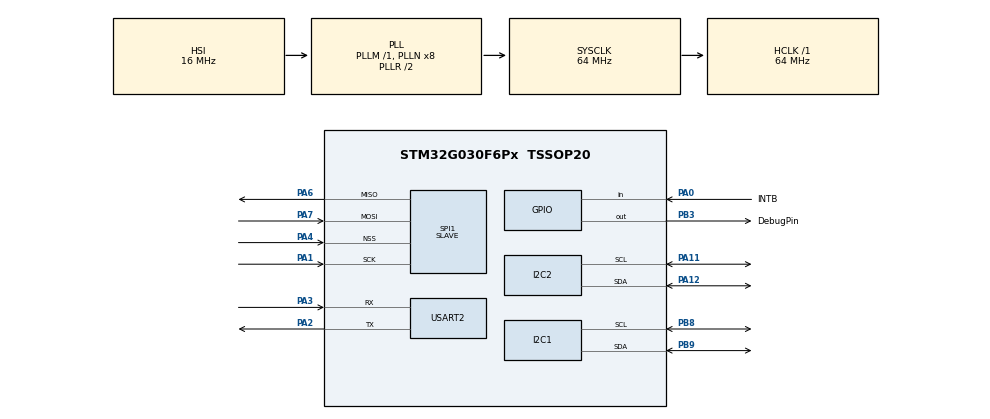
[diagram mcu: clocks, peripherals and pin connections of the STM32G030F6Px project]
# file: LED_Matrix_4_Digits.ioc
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I2C1.Timing=0x10707DBC
I2C2.Timing=0x10707DBC
Mcu.Family=STM32G0
Mcu.Name=STM32G030F6Px
Mcu.Package=TSSOP20
NVIC.SPI1_IRQn=true\:0\:0\:false\:false\:true\:true\:true\:true
PA0.GPIO_Label=INTB
PA0.Signal=GPIO_Input
PA1.Mode=Full_Duplex_Slave
PA1.Signal=SPI1_SCK
PA11\ [PA9].Mode=I2C
PA11\ [PA9].Signal=I2C2_SCL
PA12\ [PA10].Mode=I2C
PA12\ [PA10].Signal=I2C2_SDA
PA13.Mode=Serial_Wire
PA13.Signal=SYS_SWDIO
PA14-BOOT0.Mode=Serial_Wire
PA14-BOOT0.Signal=SYS_SWCLK
PA14-BOOT0__PA15.StandardMode=true
PA2.Mode=Asynchronous
PA2.Signal=USART2_TX
PA3.Mode=Asynchronous
PA3.Signal=USART2_RX
PA4.Mode=NSS_Signal_Hard_Input
PA4.Signal=SPI1_NSS
PA6.Mode=Full_Duplex_Slave
PA6.Signal=SPI1_MISO
PA7.Mode=Full_Duplex_Slave
PA7.Signal=SPI1_MOSI
PB0__PB1__PB2__PA8.StandardMode=true
PB3.GPIO_Label=DebugPin
PB3.Signal=GPIO_Output
PB3__PB4__PB5__PB6.StandardMode=true
PB7__PB8.StandardMode=true
PB8.Mode=I2C
PB8.Signal=I2C1_SCL
PB9.Mode=I2C
PB9.Signal=I2C1_SDA
PC14-OSC32_IN\ (PC14)__PB9.StandardMode=true
ProjectManager.HeapSize=0x200
ProjectManager.StackSize=0x400
ProjectManager.TargetToolchain=STM32CubeIDE
RCC.ADCFreq_Value=64000000
RCC.AHBFreq_Value=64000000
RCC.CortexFreq_Value=64000000
RCC.EXTERNAL_CLOCK_VALUE=12288000
RCC.HCLKFreq_Value=64000000
RCC.HSE_VALUE=8000000
RCC.HSI_VALUE=16000000
RCC.LSE_VALUE=32768
RCC.SYSCLKFreq_VALUE=64000000
RCC.SYSCLKSource=RCC_SYSCLKSOURCE_PLLCLK
RCC.VCOOutputFreq_Value=128000000
SPI1.Direction=SPI_DIRECTION_2LINES
SPI1.Mode=SPI_MODE_SLAVE
SPI1.VirtualNSS=VM_NSSHARD
SPI1.VirtualType=VM_SLAVE
USART2.VirtualMode-Asynchronous=VM_ASYNC
board=custom

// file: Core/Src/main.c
/* USER CODE BEGIN Header */
/**
  ******************************************************************************
  * @file           : main.c
  * @brief          : Main program body
  ******************************************************************************
  * @attention
  *
  * Copyright (c) 2024 STMicroelectronics.
  * All rights reserved.
  *
  * This software is licensed under terms that can be found in the LICENSE file
  * in the root directory of this software component.
  * If no LICENSE file comes with this software, it is provided AS-IS.
  *
  ******************************************************************************
  */
/* USER CODE END Header */
#include "main.h"

/* USER CODE BEGIN Includes */
#include <LedDriver.h>
#include <Matrix.h>
#include "string.h"
#include "stdio.h"
#include <stdlib.h>
/* USER CODE END Includes */

I2C_HandleTypeDef hi2c1;
I2C_HandleTypeDef hi2c2;

SPI_HandleTypeDef hspi1;

UART_HandleTypeDef huart2;

void SystemClock_Config(void);
static void MX_GPIO_Init(void);
static void MX_I2C1_Init(void);
static void MX_I2C2_Init(void);
static void MX_SPI1_Init(void);
static void MX_USART2_UART_Init(void);

/* USER CODE BEGIN 0 */
uint8_t characters[4] = {11, 11, 11, 11};
Matrix matrix[4];

uint8_t spi_rx_buffer[1024];
uint8_t receivedByte;
uint16_t rxIndex = 0;
uint16_t readIndex = 0;
uint16_t expectedFrameLength = 0;
uint8_t dataReady = 0;
uint8_t parsingFrameLength = 1;

void InitializeMatrix(void)
{
	IS31FL3733B_Init(&hi2c1, 5);

	uint8_t addressArray[] = {0x00, 0x10, 0x20, 0x30, 0x40, 0x50, 0x60};
	Matrix_init(&matrix[0], addressArray);

	addressArray[0] = 0x05;
	addressArray[1] = 0x15;
	addressArray[2] = 0x25;
	addressArray[3] = 0x35;
	addressArray[4] = 0x45;
	addressArray[5] = 0x55;
	addressArray[6] = 0x65;
	Matrix_init(&matrix[1], addressArray);

	addressArray[0] = 0x0A;
	addressArray[1] = 0x1A;
	addressArray[2] = 0x2A;
	addressArray[3] = 0x3A;
	addressArray[4] = 0x4A;
	addressArray[5] = 0x5A;
	addressArray[6] = 0x6A;
	Matrix_init(&matrix[2], addressArray);

	addressArray[0] = 0x70;
	addressArray[1] = 0x80;
	addressArray[2] = 0x90;
	addressArray[3] = 0xA0;
	addressArray[4] = 0xB0;
	addressArray[5] = 0xA5;
	addressArray[6] = 0xB5;
	Matrix_init(&matrix[3], addressArray);

	for (int i = 0; i < 4; i++)
	{
		Matrix_set_digit(&matrix[i], characters[i]);
	}
}

void InitializeCommand(int value)
{
	IS31FL3733B_Init(&hi2c1, value);
}

void HandleDataCommand(char *param)
{
	int index;
    for (int i = 0; i < 4; i++)
    {
    	char currentChar = param[i];

        if (currentChar >= '0' && currentChar <= '9')
        {
            index = currentChar - '0';  // '0' is index 0, '9' is index 9
        }
        else if (currentChar == ' ')
        {
            index = 10;  // Space is index 10
        }
        else if (currentChar == '*')
        {
            index = 11;  // '*' is index 11
        }
        else if (currentChar >= 'A' && currentChar <= 'Z')
        {
            index = 12 + (currentChar - 'A');  // 'A' is index 12, 'Z' is index 37
        }
        else
        {
            index = 11; //invalid data as *
        }

        characters[i] = param[i];
        Matrix_set_digit(&matrix[i], index);
    }
}

void ProcessData(void)
{
    char command[64];
    char parameter[64];
    uint8_t cmdIndex = 0;
    uint8_t paramIndex = 0;
    uint8_t readingParam = 0;

    while (spi_rx_buffer[readIndex] != '\n')
    {
        if (readingParam)
        {
            parameter[paramIndex++] = spi_rx_buffer[readIndex];
        }
        else
        {
            if (spi_rx_buffer[readIndex] == ':')
            {
                readingParam = 1;
            }
            else
            {
                command[cmdIndex++] = spi_rx_buffer[readIndex];
            }
        }

        readIndex++;
        if (readIndex >= 1024)
        {
            readIndex = 0;
        }
    }

    command[cmdIndex] = '\0';
    parameter[paramIndex] = '\0';

    if (strcmp(command, "Initialize") == 0)
    {
        int paramValue = atoi(parameter);
        InitializeCommand(paramValue);
    }
    else if (strcmp(command, "Data") == 0)
    {
        HandleDataCommand(parameter);
    }
    else
    {
        printf("Unknown command: %s with parameter: %s\n", command, parameter);
    }

    dataReady--;
}
/* USER CODE END 0 */

int main(void)
{

  /* MCU Configuration--------------------------------------------------------*/

  /* Reset of all peripherals, Initializes the Flash interface and the Systick. */
  HAL_Init();

  /* Configure the system clock */
  SystemClock_Config();

  /* Initialize all configured peripherals */
  MX_GPIO_Init();
  MX_I2C1_Init();
  MX_I2C2_Init();
  MX_SPI1_Init();
  MX_USART2_UART_Init();
  /* USER CODE BEGIN 2 */
  InitializeMatrix();

  HAL_SPI_Receive_IT(&hspi1, &receivedByte, 1);

  /* USER CODE END 2 */

  /* Infinite loop */
  while (1)
  {
	  if (dataReady > 0)
	  {
		  ProcessData();
	  }
  }
}

void SystemClock_Config(void)
{
  RCC_OscInitTypeDef RCC_OscInitStruct = {0};
  RCC_ClkInitTypeDef RCC_ClkInitStruct = {0};

  /** Configure the main internal regulator output voltage
  */
  HAL_PWREx_ControlVoltageScaling(PWR_REGULATOR_VOLTAGE_SCALE1);

  /** Initializes the RCC Oscillators according to the specified parameters
  * in the RCC_OscInitTypeDef structure.
  */
  RCC_OscInitStruct.OscillatorType = RCC_OSCILLATORTYPE_HSI;
  RCC_OscInitStruct.HSIState = RCC_HSI_ON;
  RCC_OscInitStruct.HSIDiv = RCC_HSI_DIV1;
  RCC_OscInitStruct.HSICalibrationValue = RCC_HSICALIBRATION_DEFAULT;
  RCC_OscInitStruct.PLL.PLLState = RCC_PLL_ON;
  RCC_OscInitStruct.PLL.PLLSource = RCC_PLLSOURCE_HSI;
  RCC_OscInitStruct.PLL.PLLM = RCC_PLLM_DIV1;
  RCC_OscInitStruct.PLL.PLLN = 8;
  RCC_OscInitStruct.PLL.PLLP = RCC_PLLP_DIV2;
  RCC_OscInitStruct.PLL.PLLR = RCC_PLLR_DIV2;
  if (HAL_RCC_OscConfig(&RCC_OscInitStruct) != HAL_OK)
  {
    Error_Handler();
  }

  /** Initializes the CPU, AHB and APB buses clocks
  */
  RCC_ClkInitStruct.ClockType = RCC_CLOCKTYPE_HCLK|RCC_CLOCKTYPE_SYSCLK
                              |RCC_CLOCKTYPE_PCLK1;
  RCC_ClkInitStruct.SYSCLKSource = RCC_SYSCLKSOURCE_PLLCLK;
  RCC_ClkInitStruct.AHBCLKDivider = RCC_SYSCLK_DIV1;
  RCC_ClkInitStruct.APB1CLKDivider = RCC_HCLK_DIV1;

  if (HAL_RCC_ClockConfig(&RCC_ClkInitStruct, FLASH_LATENCY_2) != HAL_OK)
  {
    Error_Handler();
  }
}

static void MX_I2C1_Init(void)
{

  hi2c1.Instance = I2C1;
  hi2c1.Init.Timing = 0x10707DBC;
  hi2c1.Init.OwnAddress1 = 0;
  hi2c1.Init.AddressingMode = I2C_ADDRESSINGMODE_7BIT;
  hi2c1.Init.DualAddressMode = I2C_DUALADDRESS_DISABLE;
  hi2c1.Init.OwnAddress2 = 0;
  hi2c1.Init.OwnAddress2Masks = I2C_OA2_NOMASK;
  hi2c1.Init.GeneralCallMode = I2C_GENERALCALL_DISABLE;
  hi2c1.Init.NoStretchMode = I2C_NOSTRETCH_DISABLE;
  if (HAL_I2C_Init(&hi2c1) != HAL_OK)
  {
    Error_Handler();
  }

  /** Configure Analogue filter
  */
  if (HAL_I2CEx_ConfigAnalogFilter(&hi2c1, I2C_ANALOGFILTER_ENABLE) != HAL_OK)
  {
    Error_Handler();
  }

  /** Configure Digital filter
  */
  if (HAL_I2CEx_ConfigDigitalFilter(&hi2c1, 0) != HAL_OK)
  {
    Error_Handler();
  }

}

static void MX_I2C2_Init(void)
{

  hi2c2.Instance = I2C2;
  hi2c2.Init.Timing = 0x10707DBC;
  hi2c2.Init.OwnAddress1 = 0;
  hi2c2.Init.AddressingMode = I2C_ADDRESSINGMODE_7BIT;
  hi2c2.Init.DualAddressMode = I2C_DUALADDRESS_DISABLE;
  hi2c2.Init.OwnAddress2 = 0;
  hi2c2.Init.OwnAddress2Masks = I2C_OA2_NOMASK;
  hi2c2.Init.GeneralCallMode = I2C_GENERALCALL_DISABLE;
  hi2c2.Init.NoStretchMode = I2C_NOSTRETCH_DISABLE;
  if (HAL_I2C_Init(&hi2c2) != HAL_OK)
  {
    Error_Handler();
  }

  /** Configure Analogue filter
  */
  if (HAL_I2CEx_ConfigAnalogFilter(&hi2c2, I2C_ANALOGFILTER_ENABLE) != HAL_OK)
  {
    Error_Handler();
  }

  /** Configure Digital filter
  */
  if (HAL_I2CEx_ConfigDigitalFilter(&hi2c2, 0) != HAL_OK)
  {
    Error_Handler();
  }

}

static void MX_SPI1_Init(void)
{

  /* SPI1 parameter configuration*/
  hspi1.Instance = SPI1;
  hspi1.Init.Mode = SPI_MODE_SLAVE;
  hspi1.Init.Direction = SPI_DIRECTION_2LINES;
  hspi1.Init.DataSize = SPI_DATASIZE_8BIT;
  hspi1.Init.CLKPolarity = SPI_POLARITY_LOW;
  hspi1.Init.CLKPhase = SPI_PHASE_1EDGE;
  hspi1.Init.NSS = SPI_NSS_HARD_INPUT;
  hspi1.Init.FirstBit = SPI_FIRSTBIT_MSB;
  hspi1.Init.TIMode = SPI_TIMODE_DISABLE;
  hspi1.Init.CRCCalculation = SPI_CRCCALCULATION_DISABLE;
  hspi1.Init.CRCPolynomial = 7;
  hspi1.Init.CRCLength = SPI_CRC_LENGTH_DATASIZE;
  hspi1.Init.NSSPMode = SPI_NSS_PULSE_DISABLE;
  if (HAL_SPI_Init(&hspi1) != HAL_OK)
  {
    Error_Handler();
  }

}

static void MX_USART2_UART_Init(void)
{

  huart2.Instance = USART2;
  huart2.Init.BaudRate = 115200;
  huart2.Init.WordLength = UART_WORDLENGTH_8B;
  huart2.Init.StopBits = UART_STOPBITS_1;
  huart2.Init.Parity = UART_PARITY_NONE;
  huart2.Init.Mode = UART_MODE_TX_RX;
  huart2.Init.HwFlowCtl = UART_HWCONTROL_NONE;
  huart2.Init.OverSampling = UART_OVERSAMPLING_16;
  huart2.Init.OneBitSampling = UART_ONE_BIT_SAMPLE_DISABLE;
  huart2.Init.ClockPrescaler = UART_PRESCALER_DIV1;
  huart2.AdvancedInit.AdvFeatureInit = UART_ADVFEATURE_NO_INIT;
  if (HAL_UART_Init(&huart2) != HAL_OK)
  {
    Error_Handler();
  }

}

static void MX_GPIO_Init(void)
{
  GPIO_InitTypeDef GPIO_InitStruct = {0};

  /* GPIO Ports Clock Enable */
  __HAL_RCC_GPIOB_CLK_ENABLE();
  __HAL_RCC_GPIOA_CLK_ENABLE();

  /*Configure GPIO pin Output Level */
  HAL_GPIO_WritePin(DebugPin_GPIO_Port, DebugPin_Pin, GPIO_PIN_RESET);

  /*Configure GPIO pin : INTB_Pin */
  GPIO_InitStruct.Pin = INTB_Pin;
  GPIO_InitStruct.Mode = GPIO_MODE_INPUT;
  GPIO_InitStruct.Pull = GPIO_NOPULL;
  HAL_GPIO_Init(INTB_GPIO_Port, &GPIO_InitStruct);

  /*Configure GPIO pin : DebugPin_Pin */
  GPIO_InitStruct.Pin = DebugPin_Pin;
  GPIO_InitStruct.Mode = GPIO_MODE_OUTPUT_PP;
  GPIO_InitStruct.Pull = GPIO_NOPULL;
  GPIO_InitStruct.Speed = GPIO_SPEED_FREQ_LOW;
  HAL_GPIO_Init(DebugPin_GPIO_Port, &GPIO_InitStruct);

}

/* USER CODE BEGIN 4 */
void HAL_SPI_RxCpltCallback(SPI_HandleTypeDef *hspi)
{
	if (hspi->Instance == SPI1)
	    {
	        spi_rx_buffer[rxIndex++] = receivedByte;

	        if (rxIndex >= 1024)
	        {
	            rxIndex = 0;
	        }

	        if (parsingFrameLength)  // If we're parsing the frame length
	        {
	            if (receivedByte == '\n')
	            {
	                spi_rx_buffer[rxIndex] = '\0';  // Null-terminate to process as string
	                expectedFrameLength = atoi((char *)spi_rx_buffer);  // Get the frame length
	                rxIndex = 0;  // Reset index for actual frame data reception

	                parsingFrameLength = 0;
	            }
	        }
	        else  // If we're receiving actual frame data
	        {
	            if (rxIndex == expectedFrameLength || receivedByte == '\n')
	            {
	                dataReady++;
	                parsingFrameLength = 1;
	                rxIndex = 0;
	            }
	        }

	        // Restart receiving the next byte
	        HAL_SPI_Receive_IT(hspi, &receivedByte, 1);
	    }
}
/* USER CODE END 4 */

void Error_Handler(void)
{
  __disable_irq();
  while (1)
  {
  }
}
